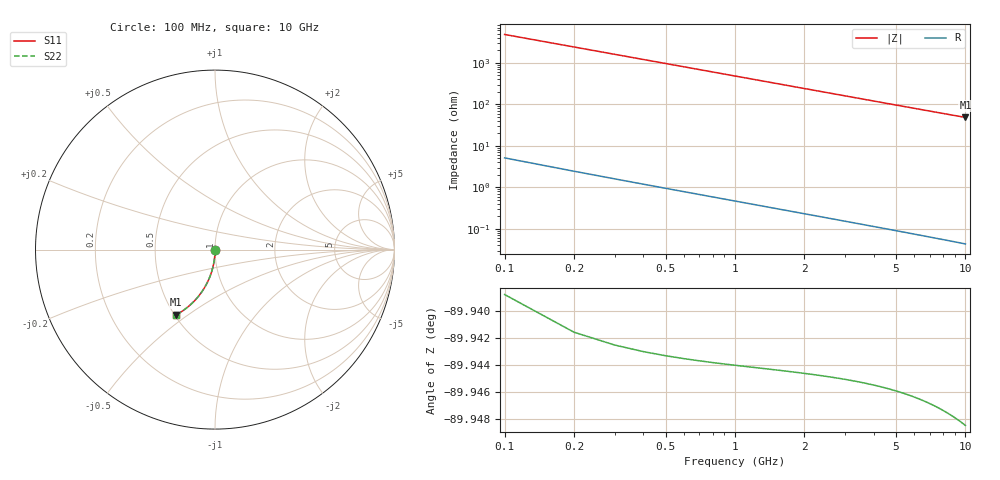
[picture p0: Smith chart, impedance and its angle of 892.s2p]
# Hz S RI R 50.00
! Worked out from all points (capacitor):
!   100 points, 100 MHz to 10 GHz, reference 50 ohm
!   read as one part in shunt: C = 331 fF near 100 MHz
!   lowest |Z| = 48.5 ohm at 10 GHz (marker M1)
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1e8  0.000113 -0.00471  0.9998 -0.00568  0.9998 -0.00568  0.000113 -0.00471
2e8  2.87e-05 -0.00941  0.9997 -0.0114  0.9997 -0.0114  2.87e-05 -0.00941
3e8  -0.000109 -0.0141  0.9996 -0.0171  0.9996 -0.0171  -0.000109 -0.0141
4e8  -0.000301 -0.0188  0.9994 -0.0227  0.9994 -0.0227  -0.000301 -0.0188
5e8  -0.000546 -0.0235  0.9991 -0.0284  0.9991 -0.0284  -0.000546 -0.0235
6e8  -0.000845 -0.0282  0.9988 -0.0341  0.9988 -0.0341  -0.000845 -0.0282
7e8  -0.0012 -0.0329  0.9985 -0.0398  0.9985 -0.0398  -0.0012 -0.0329
8e8  -0.0016 -0.0376  0.9981 -0.0454  0.9981 -0.0454  -0.0016 -0.0376
9e8  -0.00206 -0.0423  0.9976 -0.0511  0.9976 -0.0511  -0.00206 -0.0423
1.1e9  -0.00314 -0.0516  0.9965 -0.0624  0.9965 -0.0624  -0.00314 -0.0516
1.4e9  -0.00514 -0.0655  0.9945 -0.0793  0.9945 -0.0793  -0.00514 -0.0655
1.8e9  -0.00855 -0.084  0.991 -0.1016  0.991 -0.1016  -0.00855 -0.084
2.1e9  -0.0116 -0.0977  0.9878 -0.1183  0.9878 -0.1183  -0.0116 -0.0977
2.5e9  -0.0165 -0.1157  0.9829 -0.1402  0.9829 -0.1402  -0.0165 -0.1157
2.9e9  -0.0221 -0.1335  0.9772 -0.1619  0.9772 -0.1619  -0.0221 -0.1335
3.4e9  -0.0302 -0.1551  0.9689 -0.1885  0.9689 -0.1885  -0.0302 -0.1551
4.2e9  -0.0455 -0.1885  0.9533 -0.2298  0.9533 -0.2298  -0.0455 -0.1885
5.1e9  -0.0659 -0.2238  0.9325 -0.2741  0.9325 -0.2741  -0.0659 -0.2238
5.9e9  -0.0865 -0.2529  0.9115 -0.3112  0.9115 -0.3112  -0.0865 -0.2529
6.7e9  -0.1091 -0.2797  0.8884 -0.346  0.8884 -0.346  -0.1091 -0.2797
8.4e9  -0.1623 -0.3283  0.8338 -0.4117  0.8338 -0.4117  -0.1623 -0.3283
1e10  -0.2166 -0.3634  0.7781 -0.4631  0.7781 -0.4631  -0.2166 -0.3634
